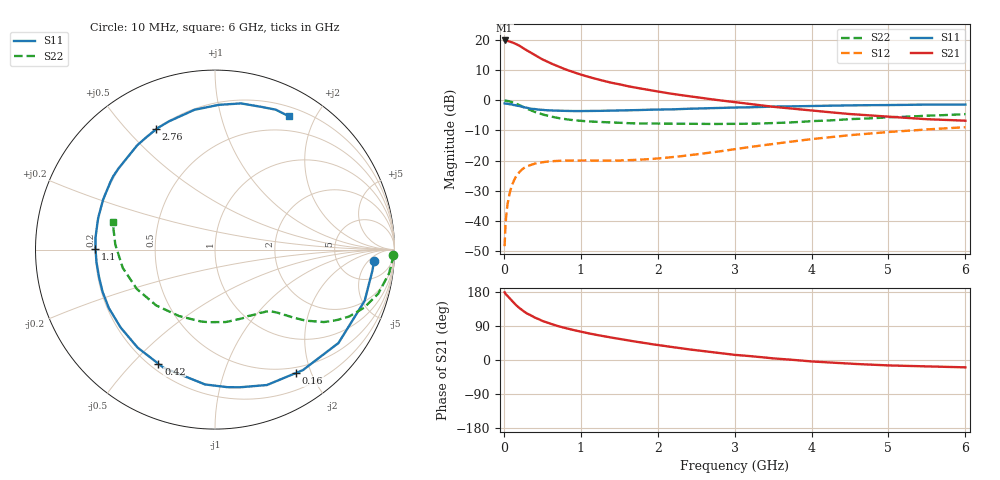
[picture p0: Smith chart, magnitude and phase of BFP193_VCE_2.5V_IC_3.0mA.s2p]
! Infineon Technologies  Discrete & RF Semiconductors
! BFP193
! VCE = 2.5 V,  IC =  3.0 mA
! Common Emitter S-Parameters:  Jan 2016
# GHz  S  MA  R  50
!  f  S11  S21  S12  S22
! GHz  MAG  ANG  MAG  ANG  MAG  ANG  MAG  ANG
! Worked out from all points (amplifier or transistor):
!   210 points, 10 MHz to 6 GHz, reference 50 ohm
!   highest |S21| = 19.9 dB at 10 MHz (marker M1)
!   |S21| within 3 dB of that: start of sweep to 280 MHz
!   unconditionally stable (mu >= 1): 1.453 GHz to 3.49 GHz
!   at 185 MHz: K = 0.15, MSG = 21.4 dB, |S12| = -24.4 dB
!   at 1.52 GHz: K = 1.03, MAG = 11.5 dB, |S12| = -20.0 dB
!   at 6 GHz: K = 0.94, MSG = 1.1 dB, |S12| = -8.9 dB
!   S11 on the Smith chart (normalised r, x): 10 MHz: 13, -7; 160 MHz: 0.42, -1.77; 420 MHz: 0.23, -0.60; 1.1 GHz: 0.20, +0.00; 2.76 GHz: 0.20, +0.61; 6 GHz: 0.31, +1.66
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0.01  0.8888 -4.0  9.85 178.7  0.0038 89.1  0.9931 -1.6
0.02  0.8848 -7.6  9.73 175.0  0.0079 82.8  0.9912 -3.1
0.04  0.8787 -15.1  9.669 170.5  0.0156 80.1  0.982 -6.2
0.09  0.8593 -33.4  9.329 159.5  0.0338 71.9  0.9482 -13.6
0.15  0.8311 -53.9  8.703 146.2  0.0523 61.7  0.8913 -21.3
0.16  0.822 -56.8  8.566 144.6  0.0546 60.1  0.8796 -22.3
0.2  0.8081 -69.0  8.09 137.6  0.064 54.8  0.8357 -26.5
0.26  0.7697 -84.8  7.226 128.3  0.075 47.3  0.7679 -31.1
0.3  0.7534 -94.2  6.735 122.8  0.0803 43.9  0.7294 -33.6
0.42  0.7097 -116.4  5.497 110.6  0.0897 35.1  0.6312 -38.5
0.5  0.6957 -128.3  4.788 103.2  0.0938 31.2  0.584 -40.7
0.6  0.6818 -140.5  4.163 96.0  0.0973 27.7  0.5429 -42.6
0.7  0.6752 -151.1  3.681 89.7  0.0988 25.1  0.51 -44.3
1.02  0.6636 -175.2  2.629 73.8  0.1003 22.1  0.4546 -49.3
1.1  0.6658 179.8  2.451 70.4  0.1007 22.0  0.4466 -50.7
1.6  0.6831 155.8  1.727 52.0  0.1014 26.0  0.4195 -60.8
2.02  0.7024 139.5  1.382 39.1  0.109 32.4  0.4095 -70.9
2.76  0.7461 116.0  1.017 19.4  0.1397 40.5  0.4051 -92.9
3.1  0.7622 107.4  0.901 12.0  0.1612 41.4  0.4077 -104.5
4.1  0.8095 86.7  0.658 -4.9  0.2341 36.2  0.4555 -140.0
5.1  0.8368 71.7  0.524 -14.8  0.3039 24.4  0.5275 -171.6
6  0.8495 60.9  0.459 -19.4  0.3581 12.8  0.5906 164.9
